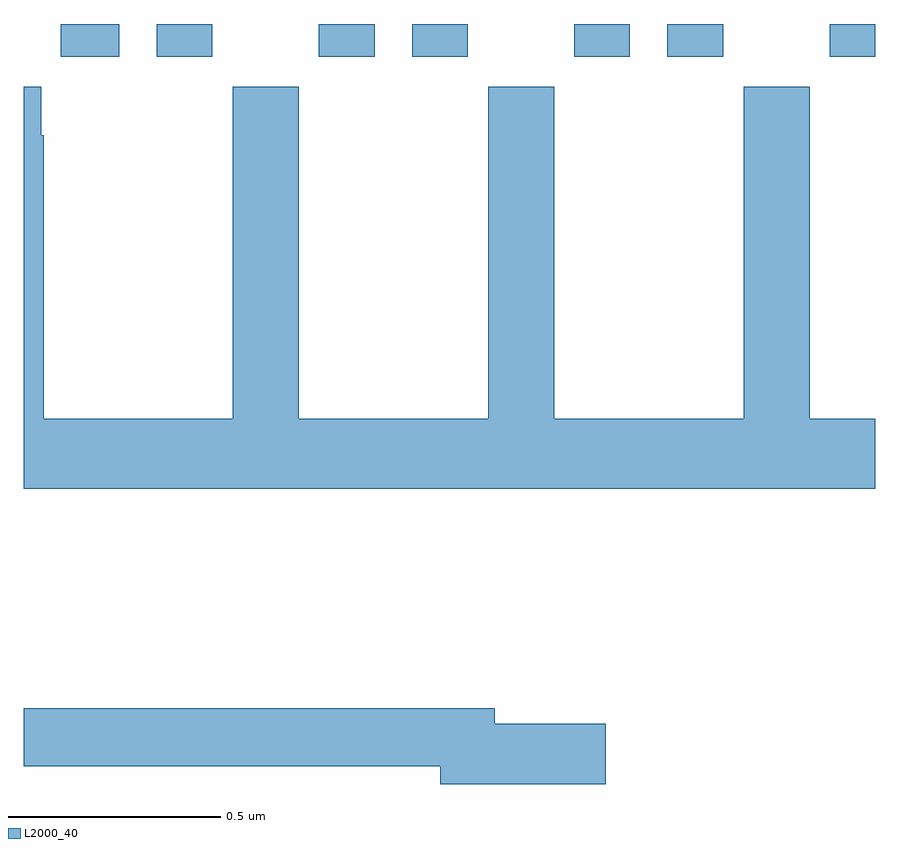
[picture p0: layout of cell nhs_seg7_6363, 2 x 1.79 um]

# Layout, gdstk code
import gdstk
lib = gdstk.Library(unit=1e-6, precision=1e-09)
def R(c, l, rs):  # rectangles x0, y0, x1, y1
    for r in rs: c.add(gdstk.rectangle(r[:2], r[2:], *l))
def P(c, l, *ps):  # polygons
    for p in ps: c.add(gdstk.Polygon(p, *l))
L2000_40 = (2000, 40)

nhs_seg7_6363 = lib.new_cell('nhs_seg7_6363')
R(nhs_seg7_6363, L2000_40, [(197.087,1042.923,197.224,1043), (197.312,1042.923,197.443,1043), (197.693,1042.923,197.824,1043), (197.912,1042.923,198.043,1043), (198.293,1042.923,198.424,1043), (198.512,1042.923,198.643,1043), (198.893,1042.923,199,1043)])
P(nhs_seg7_6363, L2000_40, [(199,1042.072),(198.846,1042.072),(198.846,1042.852),(198.691,1042.852),(198.691,1042.072),(198.246,1042.072),(198.246,1042.852),(198.091,1042.852),(198.091,1042.072),(197.646,1042.072),(197.646,1042.852),(197.491,1042.852),(197.491,1042.072),(197.046,1042.072),(197.046,1042.739),(197.041,1042.739),(197.041,1042.852),(197,1042.852),(197,1041.908),(199,1041.908)],
  [(198.367,1041.356),(198.106,1041.356),(198.106,1041.392),(197,1041.392),(197,1041.256),(197.978,1041.256),(197.978,1041.214),(198.367,1041.214)])

lib.write_gds('nhs_seg7_6363.gds')
